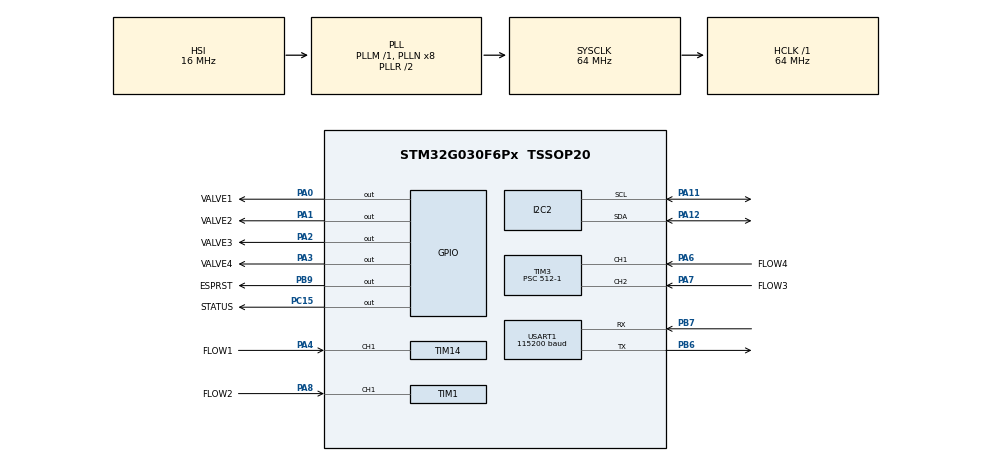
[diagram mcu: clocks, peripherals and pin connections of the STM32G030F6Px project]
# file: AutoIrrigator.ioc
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Dma.Request0=USART1_RX
Dma.USART1_RX.0.Direction=DMA_PERIPH_TO_MEMORY
Dma.USART1_RX.0.EventEnable=DISABLE
Dma.USART1_RX.0.Instance=DMA1_Channel1
Dma.USART1_RX.0.MemDataAlignment=DMA_MDATAALIGN_BYTE
Dma.USART1_RX.0.MemInc=DMA_MINC_ENABLE
Dma.USART1_RX.0.Mode=DMA_CIRCULAR
Dma.USART1_RX.0.PeriphDataAlignment=DMA_PDATAALIGN_BYTE
Dma.USART1_RX.0.PeriphInc=DMA_PINC_DISABLE
Dma.USART1_RX.0.Polarity=HAL_DMAMUX_REQ_GEN_RISING
Dma.USART1_RX.0.Priority=DMA_PRIORITY_LOW
Dma.USART1_RX.0.RequestNumber=1
Dma.USART1_RX.0.SignalID=NONE
Dma.USART1_RX.0.SyncEnable=DISABLE
Dma.USART1_RX.0.SyncPolarity=HAL_DMAMUX_SYNC_NO_EVENT
Dma.USART1_RX.0.SyncRequestNumber=1
Dma.USART1_RX.0.SyncSignalID=NONE
I2C2.Timing=0x10B17DB5
Mcu.Family=STM32G0
Mcu.Name=STM32G030F6Px
Mcu.Package=TSSOP20
NVIC.DMA1_Channel1_IRQn=true\:1\:0\:true\:false\:true\:false\:true\:true
NVIC.TIM14_IRQn=true\:0\:0\:false\:false\:true\:true\:true\:true
NVIC.TIM1_CC_IRQn=true\:0\:0\:false\:false\:true\:true\:true\:true
NVIC.TIM3_IRQn=true\:0\:0\:false\:false\:true\:true\:true\:true
PA0.GPIO_Label=VALVE1
PA0.GPIO_PuPd=GPIO_NOPULL
PA0.Signal=GPIO_Output
PA1.GPIO_Label=VALVE2
PA1.GPIO_PuPd=GPIO_NOPULL
PA1.Signal=GPIO_Output
PA11\ [PA9].Mode=I2C
PA11\ [PA9].Signal=I2C2_SCL
PA12\ [PA10].Mode=I2C
PA12\ [PA10].Signal=I2C2_SDA
PA13.Mode=Serial_Wire
PA13.Signal=SYS_SWDIO
PA14-BOOT0.Mode=Serial_Wire
PA14-BOOT0.Signal=SYS_SWCLK
PA14-BOOT0__PA15.StandardMode=true
PA2.GPIO_Label=VALVE3
PA2.GPIO_PuPd=GPIO_NOPULL
PA2.Signal=GPIO_Output
PA3.GPIO_Label=VALVE4
PA3.GPIO_PuPd=GPIO_NOPULL
PA3.Signal=GPIO_Output
PA4.GPIO_Label=FLOW1
PA4.GPIO_PuPd=GPIO_PULLUP
PA4.Signal=S_TIM14_CH1
PA6.GPIO_Label=FLOW4
PA6.GPIO_PuPd=GPIO_PULLUP
PA6.Signal=S_TIM3_CH1
PA7.GPIO_Label=FLOW3
PA7.GPIO_PuPd=GPIO_PULLUP
PA7.Signal=S_TIM3_CH2
PA8.GPIO_Label=FLOW2
PA8.GPIO_PuPd=GPIO_PULLUP
PA8.Signal=S_TIM1_CH1
PB0__PB1__PB2__PA8.StandardMode=true
PB3__PB4__PB5__PB6.StandardMode=true
PB6.Mode=Asynchronous
PB6.Signal=USART1_TX
PB7.Mode=Asynchronous
PB7.Signal=USART1_RX
PB7__PB8.StandardMode=true
PB9.GPIO_Label=ESPRST
PB9.GPIO_PuPd=GPIO_NOPULL
PB9.PinState=GPIO_PIN_SET
PB9.Signal=GPIO_Output
PC14-OSC32_IN\ (PC14)__PB9.StandardMode=true
PC15-OSC32_OUT\ (PC15).GPIO_Label=STATUS
PC15-OSC32_OUT\ (PC15).Signal=GPIO_Output
ProjectManager.HeapSize=0x200
ProjectManager.StackSize=0x400
ProjectManager.TargetToolchain=STM32CubeIDE
RCC.ADCFreq_Value=64000000
RCC.AHBFreq_Value=64000000
RCC.CortexFreq_Value=64000000
RCC.EXTERNAL_CLOCK_VALUE=12288000
RCC.HCLKFreq_Value=64000000
RCC.HSE_VALUE=8000000
RCC.HSI_VALUE=16000000
RCC.LSE_VALUE=32768
RCC.SYSCLKFreq_VALUE=64000000
RCC.SYSCLKSource=RCC_SYSCLKSOURCE_PLLCLK
RCC.VCOOutputFreq_Value=128000000
SH.S_TIM14_CH1.0=TIM14_CH1,Input_Capture1_from_TI1
SH.S_TIM1_CH1.0=TIM1_CH1,Input_Capture1_from_TI1
SH.S_TIM3_CH1.0=TIM3_CH1,Input_Capture1_from_TI1
SH.S_TIM3_CH2.0=TIM3_CH2,Input_Capture2_from_TI2
TIM1.Channel-Input_Capture1_from_TI1=TIM_CHANNEL_1
TIM1.Prescaler=512-1
TIM14.Channel=TIM_CHANNEL_1
TIM14.Prescaler=512-1
TIM3.Channel-Input_Capture1_from_TI1=TIM_CHANNEL_1
TIM3.Channel-Input_Capture2_from_TI2=TIM_CHANNEL_2
TIM3.Prescaler=512-1
USART1.BaudRate=115200
USART1.VirtualMode-Asynchronous=VM_ASYNC
VP_TIM14_VS_ClockSourceINT.Mode=Enable_Timer
VP_TIM1_VS_ClockSourceINT.Mode=Internal
VP_TIM3_VS_ClockSourceINT.Mode=Internal
board=custom

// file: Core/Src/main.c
/* USER CODE BEGIN Header */
/**
  ******************************************************************************
  * @file           : main.c
  * @brief          : Main program body
  ******************************************************************************
  * @attention
  *
  * Copyright (c) 2025 STMicroelectronics.
  * All rights reserved.
  *
  * This software is licensed under terms that can be found in the LICENSE file
  * in the root directory of this software component.
  * If no LICENSE file comes with this software, it is provided AS-IS.
  *
  ******************************************************************************
  */
/* USER CODE END Header */
#include "main.h"
#include "dma.h"
#include "i2c.h"
#include "tim.h"
#include "usart.h"
#include "gpio.h"

/* USER CODE BEGIN Includes */
#include <string.h>
#include "..\ESP8266\esp8266.h"
#include "../wifihandler/wifihandler.h"
#include <stdio.h>

#include "../credentials.h"
#include "../irrigator/irrigator.h"
/* USER CODE END Includes */

/* USER CODE BEGIN PV */
WIFI_t wifi;
Connection_t conn;
Valve_t valve1;
Valve_t valve2;
Valve_t valve3;
Valve_t valve4;
/* USER CODE END PV */

void SystemClock_Config(void);

int main(void)
{

  /* MCU Configuration--------------------------------------------------------*/

  /* Reset of all peripherals, Initializes the Flash interface and the Systick. */
  HAL_Init();

  /* Configure the system clock */
  SystemClock_Config();

  /* Initialize all configured peripherals */
  MX_GPIO_Init();
  MX_DMA_Init();
  MX_I2C2_Init();
  MX_TIM1_Init();
  MX_TIM3_Init();
  MX_TIM14_Init();
  MX_USART1_UART_Init();
  /* USER CODE BEGIN 2 */
  ESP8266_Init();
  //ESP8266_ATReset();
  //HAL_Delay(10000);
  __HAL_UART_CLEAR_OREFLAG(&huart1);	// clear overrun flag caused by esp reset

  ESP8266_Init();
  memcpy(wifi.SSID, ssid, strlen(ssid));
  memcpy(wifi.pw, password, strlen(password));
  WIFI_Connect(&wifi);
  WIFI_EnableNTPServer(&wifi, 2);

  Response_t atstatus = ESP8266_CheckAT();
  if (atstatus == OK)
	  atstatus = WIFI_SetCWMODE("1");
  if (atstatus == OK)
  	  atstatus = WIFI_SetCIPMUX("1");
  if (atstatus == OK)
  	  atstatus = WIFI_SetCIPSERVER("23");

  valve1.next_valve = &valve2;
  valve2.next_valve = &valve3;
  valve3.next_valve = &valve4;

  VALVE_Init(&valve1, 1, VALVE1_GPIO_Port, VALVE1_Pin);
  VALVE_Init(&valve2, 2, VALVE2_GPIO_Port, VALVE2_Pin);
  VALVE_Init(&valve3, 3, VALVE3_GPIO_Port, VALVE3_Pin);
  VALVE_Init(&valve4, 4, VALVE4_GPIO_Port, VALVE4_Pin);

  /* USER CODE END 2 */

  /* Infinite loop */
  /* USER CODE BEGIN WHILE */
  while (1)
  {
	  atstatus = WIFI_ReceiveRequest(&wifi, &conn, 1);
	  if (atstatus == FOUND)
	  {
		  char* key_ptr = NULL;

		  if (WIFI_RequestHasKey(&conn, "help"))
			  WIFIHANDLER_HandleHelpRequest(&conn);

		  else if (conn.request_type == GET)
		  {
			  if ((key_ptr = WIFI_RequestHasKey(&conn, "valve")))
				  WIFI_HandleValveRequest(&conn, &valve1, key_ptr);
			  else if ((key_ptr = WIFI_RequestHasKey(&conn, "wifi")))
				  WIFIHANDLER_HandleWiFiRequest(&conn, key_ptr);
			  else
				  WIFI_SendResponse(&conn, "404 Not Found", "Comando non riconosciuto. Scrivi help per una lista di comandi", 62);
		  }
		  else if (conn.request_type == POST)
		  {
			  if ((key_ptr = WIFI_RequestHasKey(&conn, "at")))
				  AT_ExecuteRemoteATCommand(&conn, key_ptr);
			  else
				  WIFI_SendResponse(&conn, "404 Not Found", "Comando non riconosciuto. Scrivi help per una lista di comandi", 62);
		  }
	  }
	  else if (atstatus == ERR)
		  WIFI_SendResponse(&conn, "500 Internal server error", "", 0);
    /* USER CODE END WHILE */

  }
}

void SystemClock_Config(void)
{
  RCC_OscInitTypeDef RCC_OscInitStruct = {0};
  RCC_ClkInitTypeDef RCC_ClkInitStruct = {0};

  /** Configure the main internal regulator output voltage
  */
  HAL_PWREx_ControlVoltageScaling(PWR_REGULATOR_VOLTAGE_SCALE1);

  /** Initializes the RCC Oscillators according to the specified parameters
  * in the RCC_OscInitTypeDef structure.
  */
  RCC_OscInitStruct.OscillatorType = RCC_OSCILLATORTYPE_HSI;
  RCC_OscInitStruct.HSIState = RCC_HSI_ON;
  RCC_OscInitStruct.HSIDiv = RCC_HSI_DIV1;
  RCC_OscInitStruct.HSICalibrationValue = RCC_HSICALIBRATION_DEFAULT;
  RCC_OscInitStruct.PLL.PLLState = RCC_PLL_ON;
  RCC_OscInitStruct.PLL.PLLSource = RCC_PLLSOURCE_HSI;
  RCC_OscInitStruct.PLL.PLLM = RCC_PLLM_DIV1;
  RCC_OscInitStruct.PLL.PLLN = 8;
  RCC_OscInitStruct.PLL.PLLP = RCC_PLLP_DIV2;
  RCC_OscInitStruct.PLL.PLLR = RCC_PLLR_DIV2;
  if (HAL_RCC_OscConfig(&RCC_OscInitStruct) != HAL_OK)
  {
    Error_Handler();
  }

  /** Initializes the CPU, AHB and APB buses clocks
  */
  RCC_ClkInitStruct.ClockType = RCC_CLOCKTYPE_HCLK|RCC_CLOCKTYPE_SYSCLK
                              |RCC_CLOCKTYPE_PCLK1;
  RCC_ClkInitStruct.SYSCLKSource = RCC_SYSCLKSOURCE_PLLCLK;
  RCC_ClkInitStruct.AHBCLKDivider = RCC_SYSCLK_DIV1;
  RCC_ClkInitStruct.APB1CLKDivider = RCC_HCLK_DIV1;

  if (HAL_RCC_ClockConfig(&RCC_ClkInitStruct, FLASH_LATENCY_2) != HAL_OK)
  {
    Error_Handler();
  }
}

/* USER CODE BEGIN 4 */
void HAL_UARTEx_RxEventCallback(UART_HandleTypeDef *huart, uint16_t Size)
{
	/*rx_buf[recv_bytes] = (char)uart_buf;
	recv_bytes++;*/
	DMA_Callback();
	//HAL_UARTEx_ReceiveToIdle_IT(&huart1, &rx_buf, buffer_size);
}

/*void HAL_UART_RxCpltCallback(UART_HandleTypeDef *huart)
{
	HAL_UARTEx_ReceiveToIdle_IT(&huart1, (char*)uart_buf, buffer_size);
}*/
/* USER CODE END 4 */

void Error_Handler(void)
{
  __disable_irq();
  while (1)
  {
  }
}
